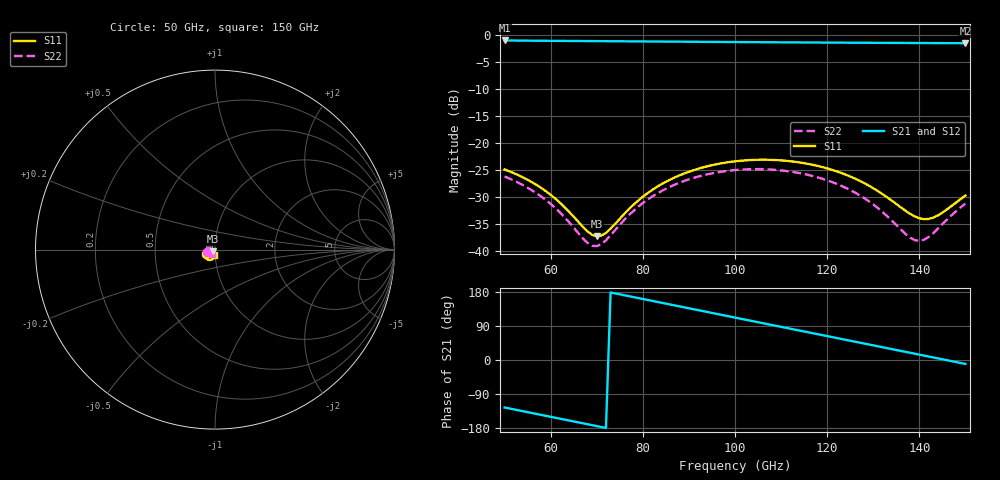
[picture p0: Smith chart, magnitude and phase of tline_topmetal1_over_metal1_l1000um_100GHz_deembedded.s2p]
! Created with skrf 2.0.1 (http://scikit-rf.org).
# GHz S DB R 50.0
!freq dBS11 angS11 dBS21 angS21 dBS12 angS12 dBS22 angS22
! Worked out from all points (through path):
!   101 points, 50 GHz to 150 GHz, reference 50 ohm
!   highest |S21| = -1.07 dB at 50 GHz (marker M1); lowest = -1.6 dB at 150 GHz (marker M2)
!   group delay of S21, straight-line fit = 6.8 ps
!   lowest |S11| = -37.3 dB at 70 GHz (marker M3), VSWR 1.03, Z = 49.1 - j0.971 ohm
!   |S11| at or under -10 dB: start of sweep to end of sweep
!   |S22| runs from -39.1 to -24.9 dB; largest |S21 - S12| = 1e-13
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50  -24.92 -156.1  -1.07 -125.4  -1.07 -125.4  -26.23 -164.1
55  -26.84 -165.8  -1.11 -137.6  -1.11 -137.6  -28.30 -175.1
59  -28.97 -171.1  -1.14 -147.4  -1.14 -147.4  -30.60 178.7
63  -31.88 -171.5  -1.16 -157.2  -1.16 -157.2  -33.75 178.0
67  -35.54 -159.1  -1.18 -167.1  -1.18 -167.1  -37.68 -167.9
69  -37.01 -143.5  -1.19 -172.0  -1.19 -172.0  -39.02 -150.3
70  -37.29 -133.6  -1.20 -174.4  -1.20 -174.4  -39.10 -139.6
72  -36.64 -114.3  -1.21 -179.3  -1.21 -179.3  -38.01 -120.9
77  -32.24 -92.3  -1.24 168.4  -1.24 168.4  -33.35 -103.8
84  -27.66 -94.0  -1.28 151.2  -1.28 151.2  -28.94 -109.2
92  -24.79 -106.6  -1.32 131.6  -1.32 131.6  -26.24 -124.6
100  -23.42 -121.8  -1.37 112.0  -1.37 112.0  -25.04 -142.4
108  -23.15 -137.2  -1.41 92.4  -1.41 92.4  -24.95 -160.4
117  -24.09 -153.5  -1.46 70.4  -1.46 70.4  -26.17 -179.6
126  -26.60 -165.9  -1.49 48.4  -1.49 48.4  -29.18 165.0
130  -28.39 -168.1  -1.51 38.6  -1.51 38.6  -31.39 161.7
134  -30.67 -165.4  -1.52 28.8  -1.52 28.8  -34.35 164.9
138  -33.12 -153.1  -1.54 19.0  -1.54 19.0  -37.53 -176.3
140  -33.94 -141.9  -1.55 14.1  -1.55 14.1  -38.13 -159.1
142  -34.07 -128.6  -1.55 9.2  -1.55 9.2  -37.43 -142.1
144  -33.44 -116.4  -1.56 4.3  -1.56 4.3  -35.90 -130.4
150  -29.76 -98.6  -1.59 -10.4  -1.59 -10.4  -31.23 -121.2
